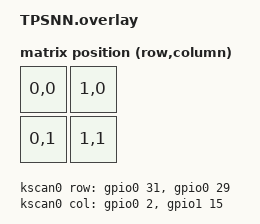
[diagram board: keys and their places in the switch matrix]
/*
 * Copyright (c) 2020 The ZMK Contributors
 *
 * SPDX-License-Identifier: MIT
 */
#include <dt-bindings/zmk/matrix_transform.h>
#include <dt-bindings/zmk/input_transform.h>
#include <input/processors.dtsi>
#include <dt-bindings/zmk/pointing.h>

// #include <zephyr/dt-bindings/input/input-event-codes.h>
// #include <dt-bindings/zmk/outputs.h>
// // #include <dt-bindings/zmk/mouse.h>
// #include <dt-bindings/zmk/input_transform.h>
// #include <input/processors/report_rate_limit.dtsi>

/ {
	chosen {
		zmk,kscan = &kscan0;
		zmk,matrix_transform = &default_transform;
	};
	default_transform: keymap_transform_0 {
		compatible = "zmk,matrix-transform";
		columns = <2>;
		rows = <2>;
		map = <
        RC(0,0) RC(1,0) 
        RC(0,1) RC(1,1)
        >;
	};

};

/{
	kscan0: kscan {
		compatible = "zmk,kscan-gpio-matrix";
		label = "KSCAN";
		diode-direction = "col2row";
		row-gpios
			= <&gpio0 31 (GPIO_ACTIVE_HIGH | GPIO_PULL_DOWN)>
            , <&gpio0 29 (GPIO_ACTIVE_HIGH | GPIO_PULL_DOWN)>
			;
        col-gpios
            = <&gpio0 2 GPIO_ACTIVE_HIGH>
            , <&gpio1 15 GPIO_ACTIVE_HIGH>
            ;
	};
    tps43_input: tps43_input {
        compatible = "zmk,input-listener";
        device = <&tps43>;
    };
};

&pinctrl {
    /* configuration for i2c0 device, default state */
    i2c0_default: i2c0_default {
        group1 {
            psels = 
                <NRF_PSEL(TWIM_SDA, 0, 17)>,
                <NRF_PSEL(TWIM_SCL, 0, 20)>;
        };
    };

    i2c0_sleep: i2c0_sleep {
        group1 {
            psels =
                <NRF_PSEL(TWIM_SDA, 0, 17)>,
                <NRF_PSEL(TWIM_SCL, 0, 20)>;
            low-power-enable;
        };
    };
};

&i2c0 {
    compatible = "nordic,nrf-twim"; // I2C controller instead of generic
    status = "okay";
    pinctrl-0 = <&i2c0_default>;
    pinctrl-1 = <&i2c0_sleep>;
    pinctrl-names = "default", "sleep";
    clock-frequency = <I2C_BITRATE_FAST>;

    status = "okay";
    tps43: iqs5xx@74 {
        status = "okay";
        compatible = "azoteq,iqs5xx";
        reg = <0x74>;
        reset-gpios = <&gpio1 0 GPIO_ACTIVE_LOW>;
        rdy-gpios = <&gpio0 11 GPIO_ACTIVE_HIGH>;

        /*
         * Potentially non-exhaustive list of configuration options.
         * See: dts/bindings/input/azoteq,iqs5xx-common.yaml for a full list.
         */
        one-finger-tap;
        press-and-hold;
        press-and-hold-time = <250>;
        two-finger-tap;

        scroll;
        natural-scroll-y;
        natural-scroll-x;
        flip-x;

        bottom-beta = <5>;
        stationary-threshold = <5>;

        // switch-xy;
    };
};
/*
west build -d build/TPSNN -p -b nice_nano_v2 -- -DSHIELD=TPSNN -DZMK_EXTRA_MODULES="/workspaces/zmk/app/zmk-driver-azoteq-iqs5xx-main"
west build -d build/TPSNN -p -b nice_nano_v2 -- -DSHIELD=TPSNN -DZMK_EXTRA_MODULES="/workspaces/zmk/app/zmk-driver-azoteq-iqs5xx-main;/workspaces/zmk/app/zmk-input-processor-report-rate-limit"

docker cp wizardly_wiles:/workspaces/zmk/app/build/TPSNN/zephyr/zmk.uf2 '/Users/song100/Library/Mobile Documents/com~apple~CloudDocs/Keyboard/36firmware/TPSNN.uf2'
*/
